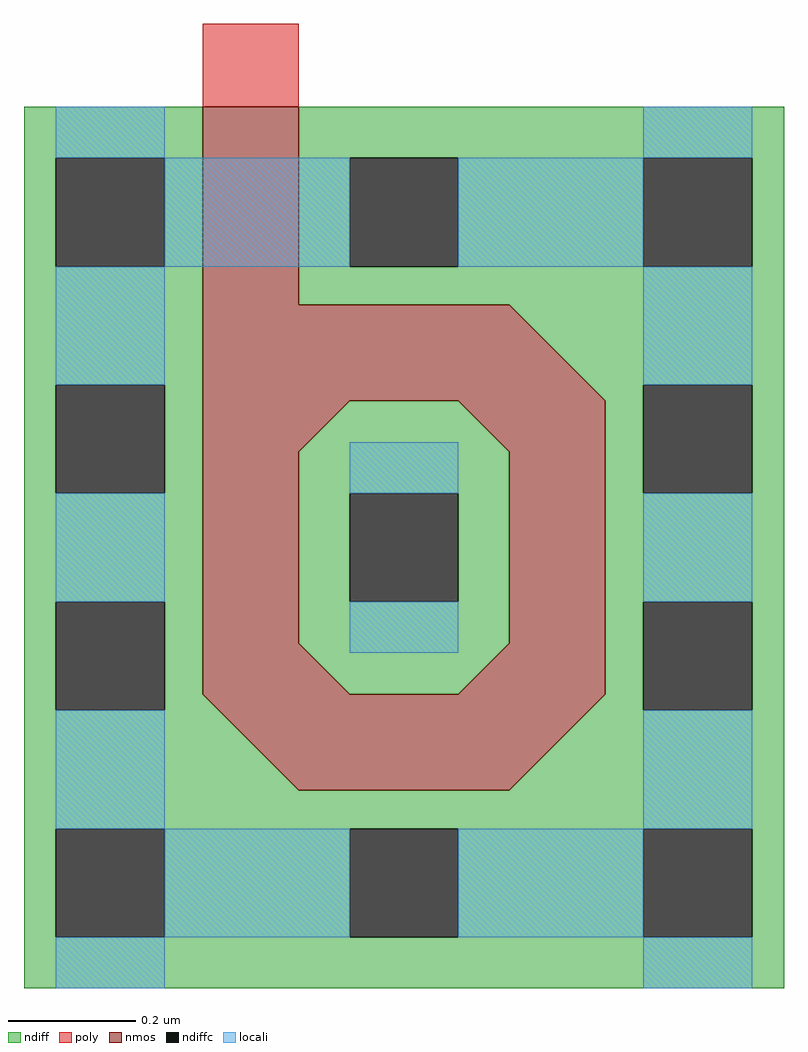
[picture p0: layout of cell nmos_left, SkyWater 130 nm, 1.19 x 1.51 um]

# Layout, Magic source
magic
tech sky130A
magscale 1 2
<< nmos >>
rect 11 150 41 212
rect 11 120 107 150
tri 107 120 137 150 sw
rect 11 28 41 120
tri 41 104 57 120 nw
tri 91 104 107 120 ne
tri 41 28 57 44 sw
tri 91 28 107 44 se
rect 107 28 137 120
tri 11 -2 41 28 ne
rect 41 -2 107 28
tri 107 -2 137 28 nw
<< ndiff >>
rect -45 196 11 212
rect -45 162 -35 196
rect -1 162 11 196
rect -45 125 11 162
rect 41 196 193 212
rect 41 162 57 196
rect 91 162 149 196
rect 183 162 193 196
rect 41 150 193 162
rect -45 91 -35 125
rect -1 91 11 125
tri 107 120 137 150 ne
rect 137 125 193 150
rect -45 57 11 91
rect -45 23 -35 57
rect -1 23 11 57
tri 41 104 57 120 se
rect 57 104 91 120
tri 91 104 107 120 sw
rect 41 91 107 104
rect 41 57 57 91
rect 91 57 107 91
rect 41 44 107 57
tri 41 28 57 44 ne
rect 57 28 91 44
tri 91 28 107 44 nw
rect 137 91 149 125
rect 183 91 193 125
rect 137 57 193 91
rect -45 -2 11 23
tri 11 -2 41 28 sw
tri 107 -2 137 28 se
rect 137 23 149 57
rect 183 23 193 57
rect 137 -2 193 23
rect -45 -14 193 -2
rect -45 -48 -35 -14
rect -1 -48 57 -14
rect 91 -48 149 -14
rect 183 -48 193 -14
rect -45 -64 193 -48
<< ndiffc >>
rect -35 162 -1 196
rect 57 162 91 196
rect 149 162 183 196
rect -35 91 -1 125
rect -35 23 -1 57
rect 57 57 91 91
rect 149 91 183 125
rect 149 23 183 57
rect -35 -48 -1 -14
rect 57 -48 91 -14
rect 149 -48 183 -14
<< poly >>
rect 11 212 41 238
<< locali >>
rect -35 196 -1 212
rect 149 196 183 212
rect -1 162 57 196
rect 91 162 149 196
rect -35 125 -1 162
rect 149 125 183 162
rect -35 57 -1 91
rect 57 91 91 107
rect 57 41 91 57
rect 149 57 183 91
rect -35 -14 -1 23
rect 149 -14 183 23
rect -1 -48 57 -14
rect 91 -48 149 -14
rect -35 -64 -1 -48
rect 149 -64 183 -48
<< end >>
